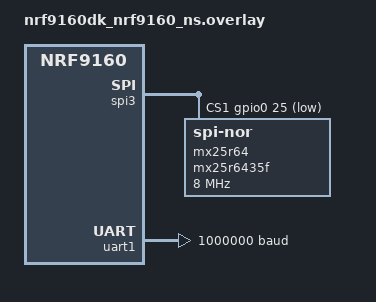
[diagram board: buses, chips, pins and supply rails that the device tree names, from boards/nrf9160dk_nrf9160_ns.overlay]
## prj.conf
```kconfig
#
# Copyright (c) 2023 Nordic Semiconductor ASA
#
# SPDX-License-Identifier: LicenseRef-Nordic-5-Clause
#
CONFIG_ZTEST=y
CONFIG_ZTEST_NEW_API=y
CONFIG_ASSERT=y
CONFIG_RESET_ON_FATAL_ERROR=n

CONFIG_NRF_MODEM_LIB=y
CONFIG_NRF_MODEM_LIB_SYS_INIT=n

# Modem trace
CONFIG_NRF_MODEM_LIB_TRACE=y
CONFIG_NRF_MODEM_LIB_TRACE_BACKEND_FLASH=y
CONFIG_NRF_MODEM_TRACE_FLASH_NOSPACE_ERASE_OLDEST=y
CONFIG_PM_PARTITION_SIZE_MODEM_TRACE=0x100000

#increase trace write speed
CONFIG_FCB_ALLOW_FIXED_ENDMARKER=y

# Logging
CONFIG_LOG=y
CONFIG_NRF_MODEM_LIB_LOG_LEVEL_ERR=y
#CONFIG_NRF_MODEM_LOG=y
CONFIG_FLASH_LOG_LEVEL_DBG=y
CONFIG_MODEM_TRACE_BACKEND_LOG_LEVEL_DBG=y


CONFIG_TFM_LOG_LEVEL_SILENCE=n
CONFIG_TFM_SECURE_UART0=y
CONFIG_TFM_SECURE_UART_SHARE_INSTANCE=y

# Enable PM_DEVICE to have pinctrl called on deinit
CONFIG_PM_DEVICE=y
```

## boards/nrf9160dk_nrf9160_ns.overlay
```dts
/*
 * Copyright (c) 2023 Nordic Semiconductor ASA
 *
 * SPDX-License-Identifier: LicenseRef-Nordic-5-Clause
 */

 /* The mx25r64 definition would normally be included when specifying a nrf9160dk_nrf9160_ns
  * board revision >= 0.14.0, but unfortunately twister has a bug that prevents the revision
  * overlay to get loaded when testing the sample. */
&spi3 {
	cs-gpios = <&arduino_header 16 GPIO_ACTIVE_LOW>, /* D10 */
		   <&gpio0 25 GPIO_ACTIVE_LOW>;
	mx25r64: mx25r6435f@1 {
		compatible = "jedec,spi-nor";
		reg = <1>;
		spi-max-frequency = <8000000>;
		jedec-id = [c2 28 17];
		sfdp-bfp = [
			e5 20 f1 ff  ff ff ff 03  44 eb 08 6b  08 3b 04 bb
			ee ff ff ff  ff ff 00 ff  ff ff 00 ff  0c 20 0f 52
			10 d8 00 ff  23 72 f5 00  82 ed 04 cc  44 83 68 44
			30 b0 30 b0  f7 c4 d5 5c  00 be 29 ff  f0 d0 ff ff
		];
		size = <67108864>;
		mxicy,mx25r-power-mode = "high-performance";
	};
};

/* Enable high drive mode for the SPI3 pins to get a square signal at 8 MHz */
&spi3_default {
	group1 {
		nordic,drive-mode = <NRF_DRIVE_H0H1>;
	};
};

/* Enable UART1 at 1 megabaud for printing modem traces  */
&uart1 {
	status = "okay";
	current-speed = <1000000>;
};

/ {
	aliases {
		ext-flash = &mx25r64;
	};

	/* Configure partition manager to use mx25r64 as the external flash */
	chosen {
		nordic,pm-ext-flash = &mx25r64;
	};
};
```

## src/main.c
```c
/*
 * Copyright (c) 2023 Nordic Semiconductor ASA
 *
 * SPDX-License-Identifier: LicenseRef-Nordic-5-Clause
 */

#include <zephyr/ztest.h>
#include <stdbool.h>
#include <string.h>
#include <zephyr/kernel.h>

#include <time.h>
#include <stdlib.h>

#include <nrf_modem_trace.h>
#include <modem/trace_backend.h>

extern struct trace_backend trace_backend;

#define BUF_SIZE CONFIG_NRF_MODEM_LIB_TRACE_BACKEND_FLASH_BUF_SIZE
static uint8_t buf_write[2*BUF_SIZE];
static uint8_t buf_read[2*BUF_SIZE];

static int nrf_modem_trace_processed_test_cb(size_t len)
{
	return 0;
}

static void *suite_setup(void)
{
	int err;

	srand(time(NULL));

	err = trace_backend.init(nrf_modem_trace_processed_test_cb);
	zassert_ok(err);

	return NULL;
}

static void test_before(void *f)
{
	for (int i = 0; i < ARRAY_SIZE(buf_write); i++) {
		buf_write[i] = rand();
	}
}

static void test_after(void *f)
{
	trace_backend.clear();
}

#define WRITE_ITERATIONS 1100
ZTEST(trace_flash_continous, test_trace_flash_c_write_read)
{
	int ret;

	for (int i = 0;i <= WRITE_ITERATIONS;i++) {
		ret = trace_backend.write(&buf_write[i % 1024], BUF_SIZE);
		zassert_equal(BUF_SIZE, ret, "write failed on iteration %d, err %d", i, ret);
	}

	ret = trace_backend.read((void *)buf_read, sizeof(buf_read));
	zassert_equal(BUF_SIZE, ret, "read failed, err %d", ret);

	while (ret > 0) {
		ret = trace_backend.read((void *)buf_read, sizeof(buf_read));
		if (ret == -ENODATA) {
			break;
		}
		zassert_equal(BUF_SIZE, ret, "read failed, err %d", ret);
	}

	/* Make sure last data is intact. */
	zassert_mem_equal(&buf_write[WRITE_ITERATIONS % 1024], buf_read, BUF_SIZE);
}

ZTEST_SUITE(trace_flash_continous, NULL, suite_setup, test_before, test_after, NULL);
```
